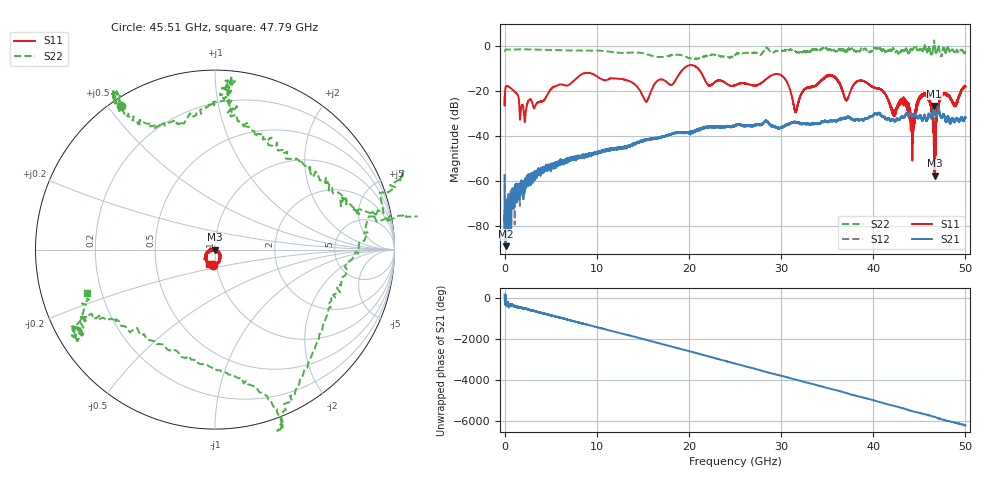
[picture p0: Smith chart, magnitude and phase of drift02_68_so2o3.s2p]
!Created with skrf (http://scikit-rf.org).
# Hz S RI R 50.0
!freq ReS11 ImS11 ReS21 ImS21 ReS12 ImS12 ReS22 ImS22
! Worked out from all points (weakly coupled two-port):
!   10001 points, 300 kHz to 50 GHz, reference 50 ohm
!   highest |S21| = -26.61 dB at 46.61 GHz (marker M1); lowest = -89.0 dB at 140.3 MHz (marker M2)
!   lowest |S11| = -57.6 dB at 46.71 GHz (marker M3), VSWR 1.00, Z = 50.1 - j0.0615 ohm
!   |S11| at or under -10 dB: start of sweep to 19.43 GHz; 21.01 GHz to end of sweep
!   |S22| runs from -5.7 to 2.6 dB; largest |S21 - S12| = 0.0034
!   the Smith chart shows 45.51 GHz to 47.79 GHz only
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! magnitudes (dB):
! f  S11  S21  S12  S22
! 300 kHz  -22.5  -57.4  -57.1  -2.0
! 140.3 MHz  -17.8  -89.0  -73.7  -1.5
! 2.185 GHz  -33.5  -61.7  -62.5  -1.3
! 8.335 GHz  -12.5  -49.5  -49.2  -1.9
! 15.34 GHz  -24.5  -41.7  -41.5  -3.4
! 16.67 GHz  -15.1  -40.8  -40.6  -4.7
! 20.29 GHz  -8.4  -38.3  -38.2  -5.5
! 25 GHz  -17.4  -35.5  -35.5  -3.9
! 29.86 GHz  -12.6  -36.5  -36.4  -2.0
! 31.59 GHz  -28.9  -33.8  -33.9  -2.4
! 33.34 GHz  -18.0  -34.4  -34.4  -1.6
! 35.58 GHz  -13.2  -33.3  -33.3  -1.6
! 37.1 GHz  -24.1  -31.8  -31.8  -2.2
! 38.78 GHz  -15.2  -32.6  -32.7  -1.0
! 41.67 GHz  -24.5  -32.2  -32.3  -1.8
! 43.43 GHz  -24.2  -31.0  -31.1  -1.9
! 44.27 GHz  -33.7  -31.3  -31.2  -1.4
! 45.7 GHz  -21.9  -32.3  -32.5  -0.8
! 46.61 GHz  -41.0  -26.6  -26.8  2.6
! 46.71 GHz  -57.6  -29.9  -29.6  -1.1
! 47.47 GHz  -21.7  -31.7  -31.5  -3.4
! 50 GHz  -17.9  -31.8  -31.6  -2.8
